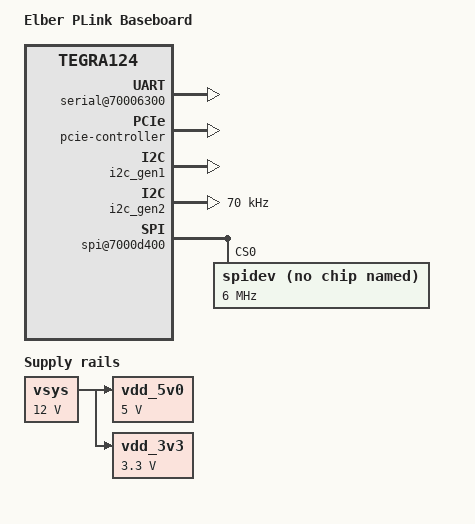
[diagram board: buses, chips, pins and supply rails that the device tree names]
/dts-v1/;

#include <dt-bindings/pci/tegra-pcie.h>

#include "tegra124-meerkat.dtsi"

/ {
	model = "Elber PLink Baseboard";
	compatible = "elber,plink", "ad,meerkat", "nvidia,tegra124";
	nvidia,dtsfilename = __FILE__;

	   pinmux {
	      common {
		 ulpi_clk_py0 {
		    nvidia,pins = "ulpi_clk_py0";
		    nvidia,function = "spi1";
		    nvidia,enable-input = <TEGRA_PIN_DISABLE>;
		    nvidia,pull = <TEGRA_PIN_PULL_NONE>;
		    nvidia,tristate = <TEGRA_PIN_DISABLE>;
		 };

		 ulpi_dir_py1 {
		    nvidia,pins = "ulpi_dir_py1";
		    nvidia,function = "spi1";
		    nvidia,enable-input = <TEGRA_PIN_ENABLE>;
		    nvidia,pull = <TEGRA_PIN_PULL_NONE>;
		    nvidia,tristate = <TEGRA_PIN_DISABLE>;
		 };

		 ulpi_nxt_py2 {
		    nvidia,pins = "ulpi_nxt_py2";
		    nvidia,function = "spi1";
		    nvidia,enable-input = <TEGRA_PIN_DISABLE>;
		    nvidia,pull = <TEGRA_PIN_PULL_NONE>;
		    nvidia,tristate = <TEGRA_PIN_DISABLE>;
		 };

		 ulpi_stp_py3 {
		    nvidia,pins = "ulpi_stp_py3";
		    nvidia,function = "spi1";
		    nvidia,enable-input = <TEGRA_PIN_DISABLE>;
		    nvidia,pull = <TEGRA_PIN_PULL_NONE>;
		    nvidia,tristate = <TEGRA_PIN_DISABLE>;
		 };
		gen2_i2c_scl_pt5 {
			nvidia,pins = "gen2_i2c_scl_pt5";
			nvidia,function = "i2c2";
			nvidia,enable-input = <TEGRA_PIN_ENABLE>;
			nvidia,pull = <TEGRA_PIN_PULL_NONE>;
			nvidia,tristate = <TEGRA_PIN_DISABLE>;
			nvidia,lock = <TEGRA_PIN_DISABLE>;
			nvidia,open-drain = <TEGRA_PIN_DISABLE>;
		};

		gen2_i2c_sda_pt6 {
			nvidia,pins = "gen2_i2c_sda_pt6";
			nvidia,function = "i2c2";
			nvidia,enable-input = <TEGRA_PIN_ENABLE>;
			nvidia,pull = <TEGRA_PIN_PULL_NONE>;
			nvidia,tristate = <TEGRA_PIN_DISABLE>;
			nvidia,lock = <TEGRA_PIN_DISABLE>;
			nvidia,open-drain = <TEGRA_PIN_DISABLE>;
		};
	      };
	   };

	serial@70006300 {
		status = "okay";
	};

	pcie-controller {
		nvidia,port0_status = <1>;
		nvidia,port1_status = <1>;
		nvidia,lanes = <TEGRA_PCIE_LANES_X2_X1>;
		status = "okay";
	};

	i2c_gen1: i2c@7000c000 {
		status = "okay";
	};

	i2c_gen2: i2c@7000c400 {
		status = "okay";
		clock-frequency = <70000>;
	};


	   spi@7000d400 {
	      status = "okay";
	      spi-max-frequency = <25000000>;

	      spidev@0 {
		 compatible = "spidev";
		 reg = <0>;
		 spi-max-frequency = <6000000>;

		 controller-data {
		    nvidia,enable-hw-based-cs;
		 };
	      };
	   };


	regulators {
		vsys: regulator@100 {
			compatible = "regulator-fixed";
			reg = <100>;
			regulator-name = "VSYS";
			regulator-min-microvolt = <12000000>;
			regulator-max-microvolt = <12000000>;
			regulator-always-on;
			regulator-boot-on;
		};

		vdd_5v0: regulator@101 {
			compatible = "regulator-fixed";
			reg = <101>;
			regulator-name = "+VDD_5V";
			regulator-min-microvolt = <5000000>;
			regulator-max-microvolt = <5000000>;
			regulator-always-on;
			regulator-boot-on;
			vin-supply = <&vsys>;
		};

		vdd_3v3: regulator@102 {
			compatible = "regulator-fixed";
			reg = <102>;
			regulator-name = "+VDD_3V3";
			regulator-min-microvolt = <3300000>;
			regulator-max-microvolt = <3300000>;
			regulator-always-on;
			regulator-boot-on;
			vin-supply = <&vsys>;
		};
	};
};
